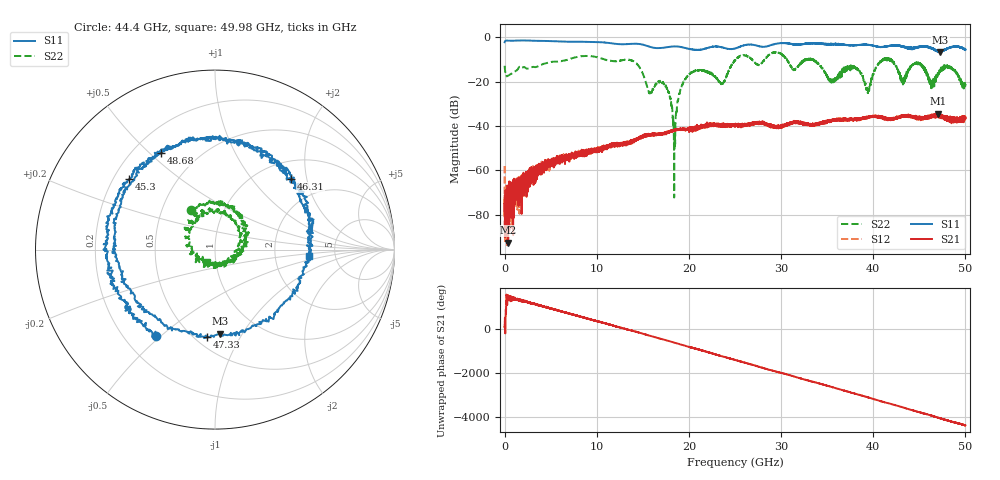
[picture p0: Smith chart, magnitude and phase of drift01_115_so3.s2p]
!Created with skrf (http://scikit-rf.org).
# Hz S RI R 50.0
!freq ReS11 ImS11 ReS21 ImS21 ReS12 ImS12 ReS22 ImS22
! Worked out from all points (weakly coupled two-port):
!   10001 points, 300 kHz to 50 GHz, reference 50 ohm
!   highest |S21| = -34.45 dB at 47.04 GHz (marker M1); lowest = -92.6 dB at 385.3 MHz (marker M2)
!   lowest |S11| = -6.6 dB at 47.28 GHz (marker M3), VSWR 2.77, Z = 33.6 - j40.3 ohm
!   |S11| at or under -10 dB: nowhere
!   |S22| runs from -72.3 to -6.7 dB; largest |S21 - S12| = 0.0041
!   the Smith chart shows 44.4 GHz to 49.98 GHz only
!   S11 on the Smith chart (normalised r, x): 44.4 GHz: 0.33, -0.48; 45.3 GHz: 0.26, +0.34; 46.31 GHz: 1.36, +1.61; 47.33 GHz: 0.58, -0.73; 48.68 GHz: 0.31, +0.54; 49.98 GHz: 3.18, -0.33
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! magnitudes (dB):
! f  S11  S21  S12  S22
! 300 kHz  -2.1  -71.4  -58.1  -12.8
! 385.3 MHz  -1.4  -92.6  -75.3  -17.2
! 8.335 GHz  -1.9  -52.5  -52.5  -8.5
! 16.67 GHz  -4.8  -43.7  -43.7  -20.0
! 17.74 GHz  -4.3  -42.6  -42.9  -24.4
! 18.45 GHz  -4.1  -41.7  -41.8  -45.6
! 19.93 GHz  -5.1  -41.3  -41.5  -17.2
! 23.6 GHz  -4.5  -40.1  -39.6  -20.9
! 25 GHz  -5.0  -39.8  -39.4  -10.4
! 33.34 GHz  -2.6  -39.5  -39.5  -10.0
! 39.44 GHz  -3.3  -36.3  -36.0  -24.2
! 41.67 GHz  -3.9  -37.0  -36.5  -9.9
! 43.2 GHz  -4.0  -35.3  -35.5  -20.0
! 44.4 GHz  -4.7  -35.5  -36.2  -11.8
! 45.3 GHz  -4.2  -36.3  -36.7  -13.0
! 46.31 GHz  -4.8  -35.3  -35.6  -22.9
! 47.04 GHz  -6.4  -34.5  -35.0  -15.8
! 47.28 GHz  -6.6  -36.1  -35.5  -15.5
! 47.33 GHz  -6.3  -35.8  -35.6  -14.3
! 48.68 GHz  -4.2  -35.9  -37.1  -14.2
! 49.98 GHz  -5.6  -36.2  -36.2  -21.5
! 50 GHz  -5.5  -36.2  -36.4  -21.5
